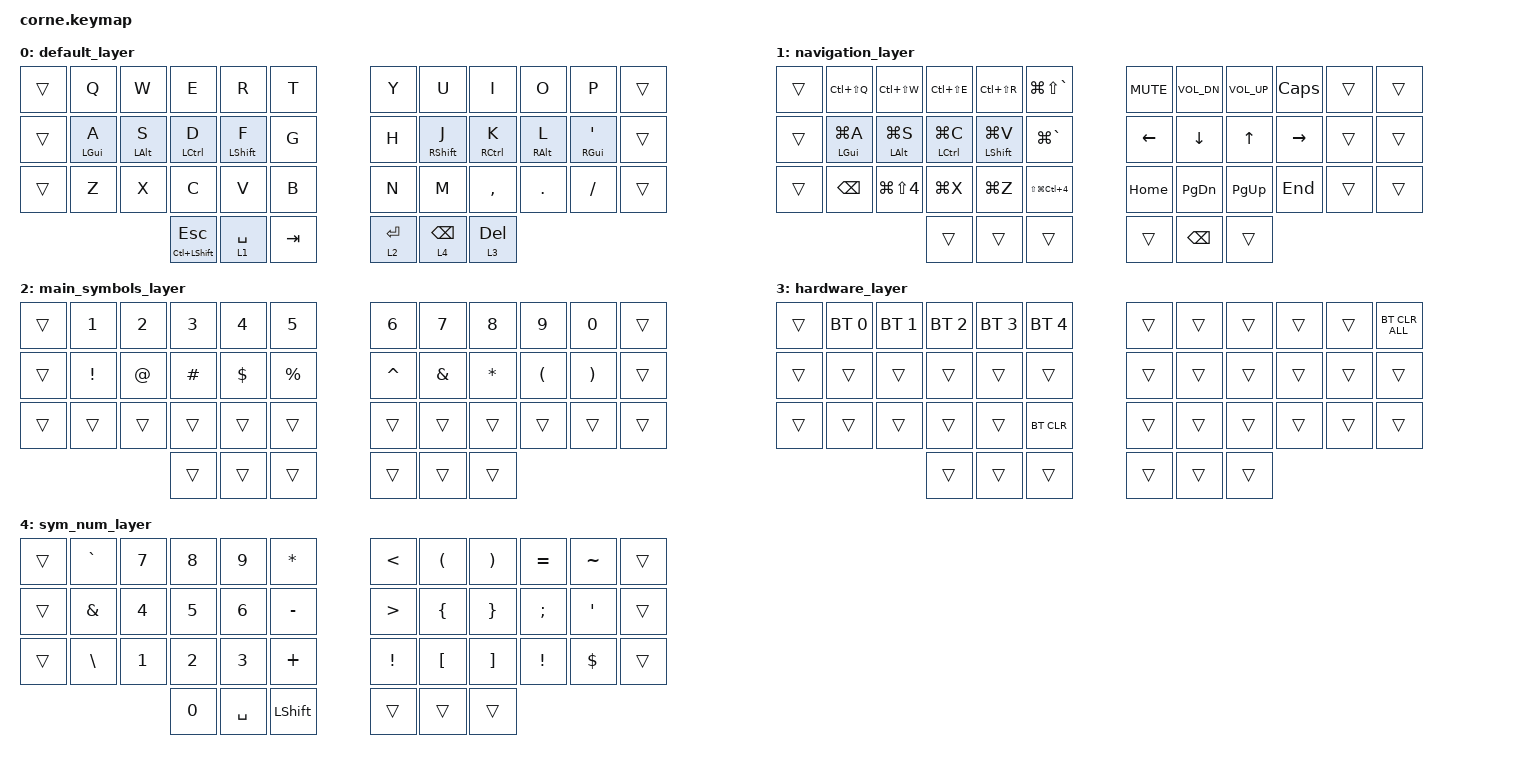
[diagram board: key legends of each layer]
/*
 * Copyright (c) 2020 The ZMK Contributors
 *
 * SPDX-License-Identifier: MIT
 */

#include <behaviors.dtsi>
#include <dt-bindings/zmk/bt.h>
#include <dt-bindings/zmk/keys.h>

#define DEFAULT 0
#define NAVIGATION 1
#define MAIN_SYMBOLS 2
#define HARDWARE 3
#define SYMNUM 4

/ {
    behaviors {
        hm: homerow_mods {
            flavor = "balanced";
            tapping-term-ms = <280>;
            quick-tap-ms = <175>;                // repeat on tap-into-hold
            require-prior-idle-ms = <150>;
            compatible = "zmk,behavior-hold-tap";
            #binding-cells = <2>;
            bindings = <&kp>, <&kp>;
        };
    };

    keymap {
        compatible = "zmk,keymap";

        default_layer {
            bindings = <
&trans  &kp Q       &kp W           &kp E                 &kp R             &kp T      &kp Y        &kp U              &kp I         &kp O            &kp P                  &trans
&trans  &hm LGUI A  &hm LEFT_ALT S  &hm LCTRL D           &hm LEFT_SHIFT F  &kp G      &kp H        &hm RIGHT_SHIFT J  &hm RCTRL K   &hm RIGHT_ALT L  &hm RGUI SINGLE_QUOTE  &trans
&trans  &kp Z       &kp X           &kp C                 &kp V             &kp B      &kp N        &kp M              &kp COMMA     &kp DOT          &kp FSLH               &trans
                                    &mt LC(LSHFT) ESCAPE  &lt 1 SPACE       &kp TAB    &lt 2 ENTER  &lt 4 BACKSPACE    &lt 3 DELETE
            >;
        };

        navigation_layer {
            bindings = <
&trans  &kp LC(LS(Q))   &kp LC(LS(W))       &kp LC(LS(E))    &kp LC(LS(R))     &kp LG(LS(GRAVE))           &kp C_MUTE  &kp C_VOL_DN   &kp C_VOL_UP  &kp CAPS   &trans  &trans
&trans  &mt LGUI LG(A)  &mt LEFT_ALT LG(S)  &mt LCTRL LG(C)  &mt LSHIFT LG(V)  &kp LG(GRAVE)               &kp LEFT    &kp DOWN       &kp UP        &kp RIGHT  &trans  &trans
&trans  &kp BACKSPACE   &kp LG(LS(N4))      &kp LG(X)        &kp LG(Z)         &kp LS(LG(LC(NUMBER_4)))    &kp HOME    &kp PAGE_DOWN  &kp PG_UP     &kp END    &trans  &trans
                                            &trans           &trans            &trans                      &trans      &kp BACKSPACE  &trans
            >;
        };

        main_symbols_layer {
            bindings = <
&trans  &kp NUMBER_1  &kp NUMBER_2  &kp NUMBER_3  &kp N4      &kp N5         &kp N6     &kp N7    &kp N8    &kp N9                &kp N0                 &trans
&trans  &kp EXCL      &kp AT        &kp HASH      &kp DOLLAR  &kp PERCENT    &kp CARET  &kp AMPS  &kp STAR  &kp LEFT_PARENTHESIS  &kp RIGHT_PARENTHESIS  &trans
&trans  &trans        &trans        &trans        &trans      &trans         &trans     &trans    &trans    &trans                &trans                 &trans
                                    &trans        &trans      &trans         &trans     &trans    &trans
            >;
        };

        hardware_layer {
            bindings = <
&trans  &bt BT_SEL 0  &bt BT_SEL 1  &bt BT_SEL 2  &bt BT_SEL 3  &bt BT_SEL 4    &trans  &trans  &trans  &trans  &trans  &bt BT_CLR_ALL
&trans  &trans        &trans        &trans        &trans        &trans          &trans  &trans  &trans  &trans  &trans  &trans
&trans  &trans        &trans        &trans        &trans        &bt BT_CLR      &trans  &trans  &trans  &trans  &trans  &trans
                                    &trans        &trans        &trans          &trans  &trans  &trans
            >;
        };

        sym_num_layer {
            bindings = <
&trans  &kp GRAVE      &kp N7  &kp N8  &kp N9     &kp STAR      &kp LESS_THAN     &kp LEFT_PARENTHESIS  &kp RIGHT_PARENTHESIS  &kp EQUAL  &kp TILDE         &trans
&trans  &kp AMPS       &kp N4  &kp N5  &kp N6     &kp MINUS     &kp GREATER_THAN  &kp LBRC              &kp RBRC               &kp SEMI   &kp SINGLE_QUOTE  &trans
&trans  &kp BACKSLASH  &kp N1  &kp N2  &kp N3     &kp PLUS      &kp EXCL          &kp LBKT              &kp RBKT               &kp EXCL   &kp DOLLAR        &trans
                               &kp N0  &kp SPACE  &kp LSHIFT    &trans            &trans                &trans
            >;
        };
    };
};
